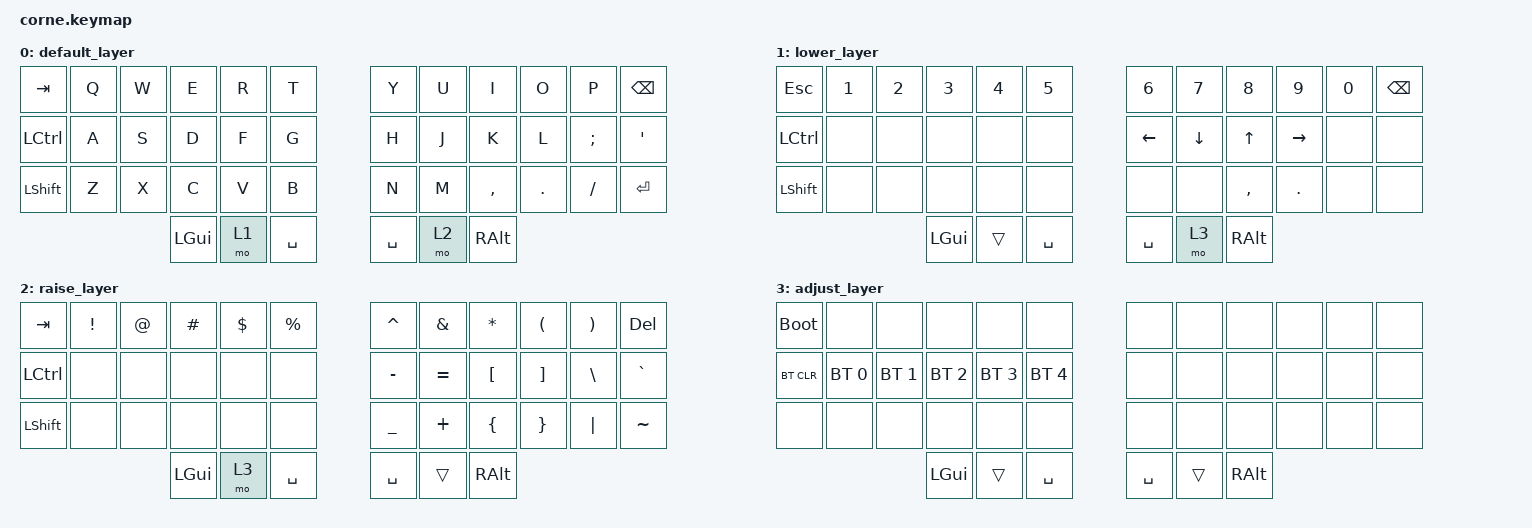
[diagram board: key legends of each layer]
/*
 * Copyright (c) 2020 The ZMK Contributors
 *
 * SPDX-License-Identifier: MIT
 */

#include <behaviors.dtsi>
#include <dt-bindings/zmk/keys.h>
#include <dt-bindings/zmk/bt.h>

/ {
        conditional_layers {
                compatible = "zmk,conditional-layers";
                tri_layer {
                        if-layers = <1 2>;
                        then-layer = <3>;
                };
        };

        keymap {
                compatible = "zmk,keymap";

                default_layer {
                        bindings = <
   &kp TAB   &kp Q &kp W &kp E &kp R &kp T   &kp Y &kp U  &kp I     &kp O   &kp P    &kp BSPC
   &kp LCTRL &kp A &kp S &kp D &kp F &kp G   &kp H &kp J  &kp K     &kp L   &kp SEMI &kp SQT
   &kp LSHFT &kp Z &kp X &kp C &kp V &kp B   &kp N &kp M  &kp COMMA &kp DOT &kp FSLH &kp RET
                  &kp LGUI &mo 1 &kp SPACE   &kp SPACE &mo 2 &kp RALT
                        >;
                };

                lower_layer {
                        bindings = <
   &kp ESC   &kp N1 &kp N2 &kp N3 &kp N4 &kp N5   &kp N6   &kp N7   &kp N8 &kp N9    &kp N0 &kp BSPC
   &kp LCTRL &none  &none  &none  &none  &none    &kp LEFT &kp DOWN &kp UP &kp RIGHT &none  &none
   &kp LSHFT &none  &none  &none  &none  &none    &none    &none    &kp COMMA &kp DOT &none  &none
                    &kp LGUI &trans &kp SPACE      &kp SPACE &mo 3   &kp RALT
                        >;
                };

                raise_layer {
                        bindings = <
   &kp TAB   &kp EXCL &kp AT &kp HASH &kp DLLR &kp PRCNT   &kp CARET &kp AMPS  &kp ASTRK &kp LPAR &kp RPAR &kp DEL
   &kp LCTRL &none    &none  &none    &none    &none       &kp MINUS &kp EQUAL &kp LBKT  &kp RBKT &kp BSLH &kp GRAVE
   &kp LSHFT &none    &none  &none    &none    &none       &kp UNDER &kp PLUS  &kp LBRC  &kp RBRC &kp PIPE &kp TILDE
                          &kp LGUI &mo 3 &kp SPACE         &kp SPACE &trans    &kp RALT
                        >;
                };

                adjust_layer {
                        bindings = <
   &bootloader &none          &none          &none          &none          &none            &none &none &none &none &none &none
   &bt BT_CLR  &bt BT_SEL 0   &bt BT_SEL 1   &bt BT_SEL 2   &bt BT_SEL 3   &bt BT_SEL 4     &none &none &none &none &none &none
   &none       &none          &none          &none          &none          &none            &none &none &none &none &none &none
                          &kp LGUI &trans &kp SPACE                        &kp SPACE &trans &kp RALT
                        >;
                };
        };
};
